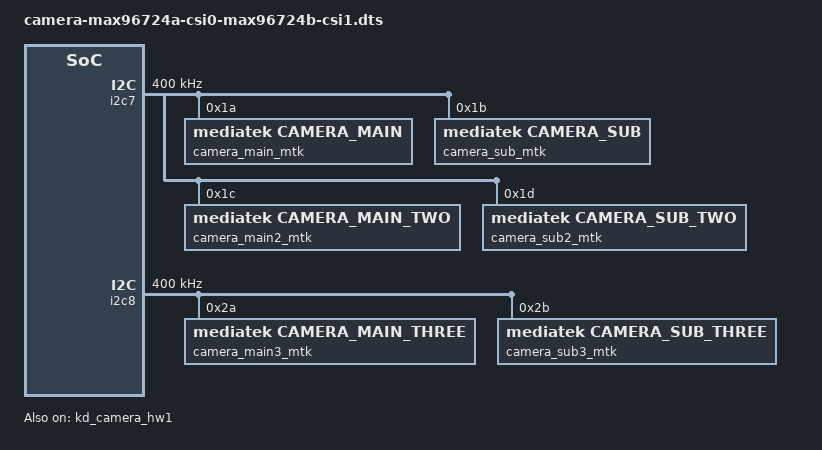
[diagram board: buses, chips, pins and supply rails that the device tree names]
// SPDX-License-Identifier: GPL-2.0-only
/*
 * Copyright (c) 2026 MediaTek Inc.
 *
 * Camera GPIO standardization
 */

/dts-v1/;
/plugin/;

#include "camera-common.dtsi"

/ {
	fragment@25 {
		target-path = "/soc";
		__overlay__ {
			kd_camera_hw1:kd-camera-hw1@1a003000 {
				compatible = "mediatek,imgsensor";
				reg = <0 0x1a003000 0 0x1000>;
				pinctrl-names = "default",
					"cam0_pnd0", "cam0_pnd1",
					"cam1_pnd0", "cam1_pnd1",
					"cam2_pnd0", "cam2_pnd1",
					"cam3_pnd0", "cam3_pnd1",
					"cam4_pnd0", "cam4_pnd1",
					"cam5_pnd0", "cam5_pnd1",
					"cam0_mclk_off",
					"cam0_mclk_2mA", "cam0_mclk_4mA",
					"cam0_mclk_6mA", "cam0_mclk_8mA",
					"cam1_mclk_off",
					"cam1_mclk_2mA", "cam1_mclk_4mA",
					"cam1_mclk_6mA", "cam1_mclk_8mA",
					"cam2_mclk_off",
					"cam2_mclk_2mA", "cam2_mclk_4mA",
					"cam2_mclk_6mA", "cam2_mclk_8mA",
					"cam3_mclk_off",
					"cam3_mclk_2mA", "cam3_mclk_4mA",
					"cam3_mclk_6mA", "cam3_mclk_8mA",
					"cam4_mclk_off",
					"cam4_mclk_2mA", "cam4_mclk_4mA",
					"cam4_mclk_6mA", "cam4_mclk_8mA",
					"cam5_mclk_off",
					"cam5_mclk_2mA", "cam5_mclk_4mA",
					"cam5_mclk_6mA", "cam5_mclk_8mA";
				pinctrl-0 = <&camera_pins_default>;
				pinctrl-1 = <&cam_port0_serdes_a0_pnd_0>;
				pinctrl-2 = <&cam_port0_serdes_a0_pnd_1>;
				pinctrl-3 = <&cam_port0_serdes_a1_pnd_0>;
				pinctrl-4 = <&cam_port0_serdes_a1_pnd_1>;
				pinctrl-5 = <&cam_port0_serdes_a2_pnd_0>;
				pinctrl-6 = <&cam_port0_serdes_a2_pnd_1>;
				pinctrl-7 = <&cam_port0_serdes_a3_pnd_0>;
				pinctrl-8 = <&cam_port0_serdes_a3_pnd_1>;
				pinctrl-9 = <&cam_port1_serdes_b0_pnd_0>;
				pinctrl-10 = <&cam_port1_serdes_b0_pnd_1>;
				pinctrl-11 = <&cam_port1_serdes_b1_pnd_0>;
				pinctrl-12 = <&cam_port1_serdes_b1_pnd_1>;

				pinctrl-13 = <&cam_port0_serdes_a0_mclk_off>;
				pinctrl-14 = <&cam_port0_serdes_a0_mclk_2ma>;
				pinctrl-15 = <&cam_port0_serdes_a0_mclk_4ma>;
				pinctrl-16 = <&cam_port0_serdes_a0_mclk_6ma>;
				pinctrl-17 = <&cam_port0_serdes_a0_mclk_8ma>;

				pinctrl-18 = <&cam_port0_serdes_a1_mclk_off>;
				pinctrl-19 = <&cam_port0_serdes_a1_mclk_2ma>;
				pinctrl-20 = <&cam_port0_serdes_a1_mclk_4ma>;
				pinctrl-21 = <&cam_port0_serdes_a1_mclk_6ma>;
				pinctrl-22 = <&cam_port0_serdes_a1_mclk_8ma>;

				pinctrl-23 = <&cam_port0_serdes_a2_mclk_off>;
				pinctrl-24 = <&cam_port0_serdes_a2_mclk_2ma>;
				pinctrl-25 = <&cam_port0_serdes_a2_mclk_4ma>;
				pinctrl-26 = <&cam_port0_serdes_a2_mclk_6ma>;
				pinctrl-27 = <&cam_port0_serdes_a2_mclk_8ma>;

				pinctrl-28 = <&cam_port0_serdes_a3_mclk_off>;
				pinctrl-29 = <&cam_port0_serdes_a3_mclk_2ma>;
				pinctrl-30 = <&cam_port0_serdes_a3_mclk_4ma>;
				pinctrl-31 = <&cam_port0_serdes_a3_mclk_6ma>;
				pinctrl-32 = <&cam_port0_serdes_a3_mclk_8ma>;

				pinctrl-33 = <&cam_port1_serdes_b0_mclk_off>;
				pinctrl-34 = <&cam_port1_serdes_b0_mclk_2ma>;
				pinctrl-35 = <&cam_port1_serdes_b0_mclk_4ma>;
				pinctrl-36 = <&cam_port1_serdes_b0_mclk_6ma>;
				pinctrl-37 = <&cam_port1_serdes_b0_mclk_8ma>;

				pinctrl-38 = <&cam_port1_serdes_b1_mclk_off>;
				pinctrl-39 = <&cam_port1_serdes_b1_mclk_2ma>;
				pinctrl-40 = <&cam_port1_serdes_b1_mclk_4ma>;
				pinctrl-41 = <&cam_port1_serdes_b1_mclk_6ma>;
				pinctrl-42 = <&cam_port1_serdes_b1_mclk_8ma>;

				cam0-pin-mclk = "mclk";
				cam0-pin-pdn = "gpio";
				cam0-pin-vcama = "regulator";
				cam0-vcama-supply = <&mt6359_vcamio_ldo_reg>;

				cam1-pin-mclk = "mclk";
				cam1-pin-pdn = "gpio";
				cam1-pin-vcama = "regulator";
				cam1-vcama-supply = <&mt6359_vcamio_ldo_reg>;

				cam2-pin-mclk = "mclk";
				cam2-pin-pdn = "gpio";
				cam2-pin-vcama = "regulator";
				cam2-vcama-supply = <&mt6359_vcamio_ldo_reg>;

				cam3-pin-mclk = "mclk";
				cam3-pin-pdn = "gpio";
				cam3-pin-vcama = "regulator";
				cam3-vcama-supply = <&mt6359_vcamio_ldo_reg>;

				cam4-pin-mclk = "mclk";
				cam4-pin-pdn = "gpio";
				cam4-pin-vcama = "regulator";
				cam4-vcama-supply = <&mt6359_vcamio_ldo_reg>;

				cam5-pin-mclk = "mclk";
				cam5-pin-pdn = "gpio";
				cam5-pin-vcama = "regulator";
				cam5-vcama-supply = <&mt6359_vcamio_ldo_reg>;
				status = "okay";
			};
		};
	};

	fragment@26 {
		target = <&i2c7>;
		__overlay__ {
			status = "okay";
			pinctrl-names = "default";
			pinctrl-0 = <&i2c7_pins>;
			clock-frequency = <400000>;
			camera_main_mtk:camera-main@1a {
				compatible = "mediatek,camera_main";
				#thermal-sensor-cells = <0>;
				reg = <0x1a>;
				status = "okay";
				mclk-index  = <0>;   /* CMMCLK0 */
				csi-port    = <0>;
			};
			camera_sub_mtk:camera-sub@1b {
				compatible = "mediatek,camera_sub";
				#thermal-sensor-cells = <0>;
				reg = <0x1b>;
				status = "okay";
				mclk-index  = <0>;   /* CMMCLK0 */
				csi-port    = <0>;
			};

			camera_main2_mtk:camera-main2@1c {
				compatible = "mediatek,camera_main_two";
				#thermal-sensor-cells = <0>;
				reg = <0x1c>;
				status = "okay";
				mclk-index  = <0>;   /* CMMCLK0 */
				csi-port    = <0>;
			};

			camera_sub2_mtk:camera-sub2@1d {
				compatible = "mediatek,camera_sub_two";
				#thermal-sensor-cells = <0>;
				reg = <0x1d>;
				status = "okay";
				mclk-index  = <0>;   /* CMMCLK0 */
				csi-port    = <0>;
			};
		};
	};

	fragment@27 {
		target = <&i2c8>;
		__overlay__ {
			status = "okay";
			pinctrl-names = "default";
			pinctrl-0 = <&i2c8_pins>;
			clock-frequency = <400000>;
			camera_main3_mtk:camera-main3@2a {
				compatible = "mediatek,camera_main_three";
				#thermal-sensor-cells = <0>;
				reg = <0x2a>;
				status = "okay";
				mclk-index  = <1>;   /* CMMCLK1 */
				csi-port    = <1>;
			};
			camera_sub3_mtk:camera-sub3@2b {
				compatible = "mediatek,camera_sub_three";
				#thermal-sensor-cells = <0>;
				reg = <0x2b>;
				status = "okay";
				mclk-index  = <1>;   /* CMMCLK1 */
				csi-port    = <1>;
			};
		};
	};
};
